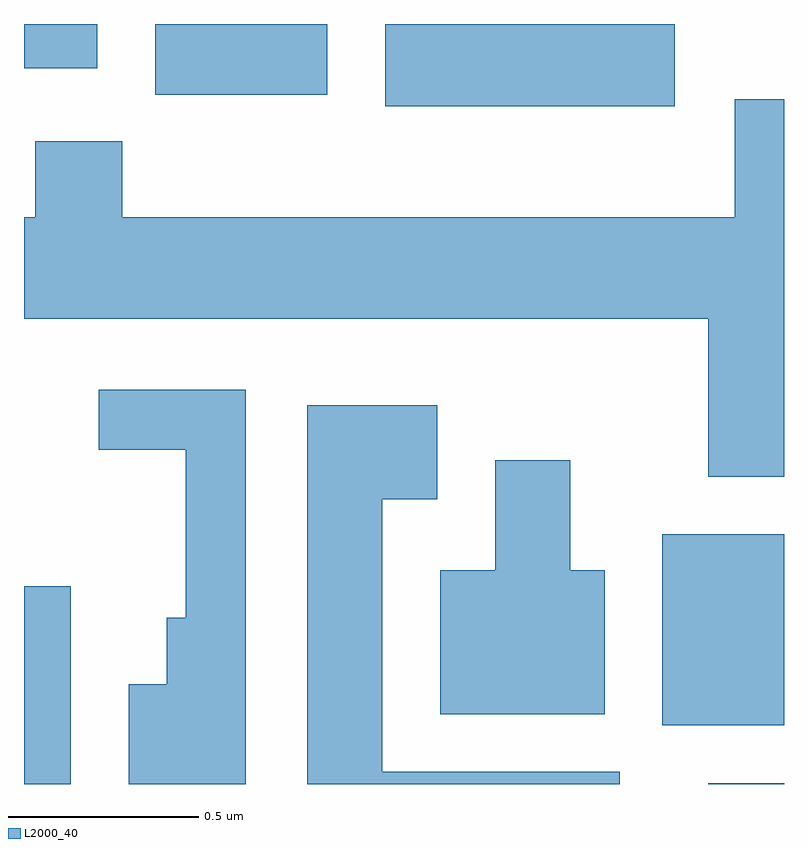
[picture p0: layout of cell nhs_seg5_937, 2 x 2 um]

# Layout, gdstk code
import gdstk
lib = gdstk.Library(unit=1e-6, precision=1e-09)
def R(c, l, rs):  # rectangles x0, y0, x1, y1
    for r in rs: c.add(gdstk.rectangle(r[:2], r[2:], *l))
def P(c, l, *ps):  # polygons
    for p in ps: c.add(gdstk.Polygon(p, *l))
L2000_40 = (2000, 40)

nhs_seg5_937 = lib.new_cell('nhs_seg5_937')
R(nhs_seg5_937, L2000_40, [(191.611,1511.072,191.734,1511.593), (193.411,1511.072,193.611,1511.074), (193.291,1511.226,193.611,1511.729), (192.561,1512.856,193.324,1513.072), (191.956,1512.886,192.409,1513.072), (191.611,1512.956,191.804,1513.072)])
P(nhs_seg5_937, L2000_40, [(193.611,1512.874),(193.481,1512.874),(193.481,1512.564),(191.869,1512.564),(191.869,1512.764),(191.641,1512.764),(191.641,1512.564),(191.611,1512.564),(191.611,1512.296),(193.411,1512.296),(193.411,1511.881),(193.611,1511.881)],
  [(192.194,1512.109),(191.808,1512.109),(191.808,1511.951),(192.036,1511.951),(192.036,1511.509),(191.986,1511.509),(191.986,1511.334),(191.886,1511.334),(191.886,1511.072),(192.194,1511.072)],
  [(193.179,1511.104),(192.554,1511.104),(192.554,1511.821),(192.699,1511.821),(192.699,1512.069),(192.356,1512.069),(192.356,1511.072),(193.179,1511.072)],
  [(193.139,1511.634),(193.049,1511.634),(193.049,1511.924),(192.851,1511.924),(192.851,1511.634),(192.706,1511.634),(192.706,1511.256),(193.139,1511.256)])

lib.write_gds('nhs_seg5_937.gds')
